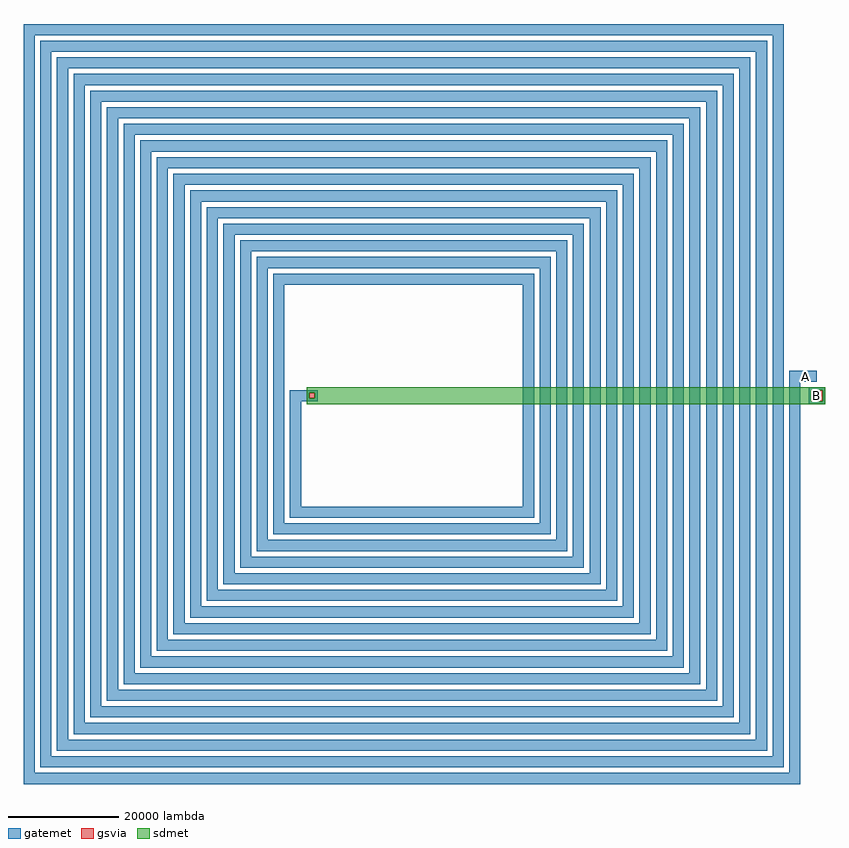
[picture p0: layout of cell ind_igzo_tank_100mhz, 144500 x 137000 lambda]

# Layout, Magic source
magic
tech igzo_mmm_lab
<< sdmet >>
rect -19000 1000 74500 1500
rect -19000 500 72000 1000
rect -19000 -500 -18500 500
rect -17500 -500 72000 500
rect -19000 -1000 72000 -500
rect 74000 -1000 74500 1000
rect -19000 -1500 74500 -1000
<< gatemet >>
rect -70000 65000 67000 67000
rect -70000 -68000 -68000 65000
rect -67000 62000 64000 64000
rect -67000 -65000 -65000 62000
rect -64000 59000 61000 61000
rect -64000 -62000 -62000 59000
rect -61000 56000 58000 58000
rect -61000 -59000 -59000 56000
rect -58000 53000 55000 55000
rect -58000 -56000 -56000 53000
rect -55000 50000 52000 52000
rect -55000 -53000 -53000 50000
rect -52000 47000 49000 49000
rect -52000 -50000 -50000 47000
rect -49000 44000 46000 46000
rect -49000 -47000 -47000 44000
rect -46000 41000 43000 43000
rect -46000 -44000 -44000 41000
rect -43000 38000 40000 40000
rect -43000 -41000 -41000 38000
rect -40000 35000 37000 37000
rect -40000 -38000 -38000 35000
rect -37000 32000 34000 34000
rect -37000 -35000 -35000 32000
rect -34000 29000 31000 31000
rect -34000 -32000 -32000 29000
rect -31000 26000 28000 28000
rect -31000 -29000 -29000 26000
rect -28000 23000 25000 25000
rect -28000 -26000 -26000 23000
rect -25000 20000 22000 22000
rect -25000 -23000 -23000 20000
rect -22000 500 -17000 1000
rect -22000 -500 -18500 500
rect -17500 -500 -17000 500
rect -22000 -1000 -17000 -500
rect -22000 -20000 -20000 -1000
rect 20000 -20000 22000 20000
rect -22000 -22000 22000 -20000
rect 23000 -23000 25000 23000
rect -25000 -25000 25000 -23000
rect 26000 -26000 28000 26000
rect -28000 -28000 28000 -26000
rect 29000 -29000 31000 29000
rect -31000 -31000 31000 -29000
rect 32000 -32000 34000 32000
rect -34000 -34000 34000 -32000
rect 35000 -35000 37000 35000
rect -37000 -37000 37000 -35000
rect 38000 -38000 40000 38000
rect -40000 -40000 40000 -38000
rect 41000 -41000 43000 41000
rect -43000 -43000 43000 -41000
rect 44000 -44000 46000 44000
rect -46000 -46000 46000 -44000
rect 47000 -47000 49000 47000
rect -49000 -49000 49000 -47000
rect 50000 -50000 52000 50000
rect -52000 -52000 52000 -50000
rect 53000 -53000 55000 53000
rect -55000 -55000 55000 -53000
rect 56000 -56000 58000 56000
rect -58000 -58000 58000 -56000
rect 59000 -59000 61000 59000
rect -61000 -61000 61000 -59000
rect 62000 -62000 64000 62000
rect -64000 -64000 64000 -62000
rect 65000 -65000 67000 65000
rect -67000 -67000 67000 -65000
rect 68000 2500 73000 4500
rect 68000 -68000 70000 2500
rect 71500 1000 74500 1500
rect 71500 -1000 72000 1000
rect 74000 -1000 74500 1000
rect 71500 -1500 74500 -1000
rect -70000 -70000 70000 -68000
<< gsvia >>
rect -18500 -500 -17500 500
rect 72000 -1000 74000 1000
<< labels >>
rlabel gatemet s 70000 2500 72000 4500 4 A
port 3 nsew
rlabel gatemet s 72000 -1000 74000 1000 4 B
port 5 nsew
rlabel text s 0 -75000 0 -75000 4 ind_igzo 263.5nH / 1.44kOhm @ 100MHz / Q 0.12
<< end >>
